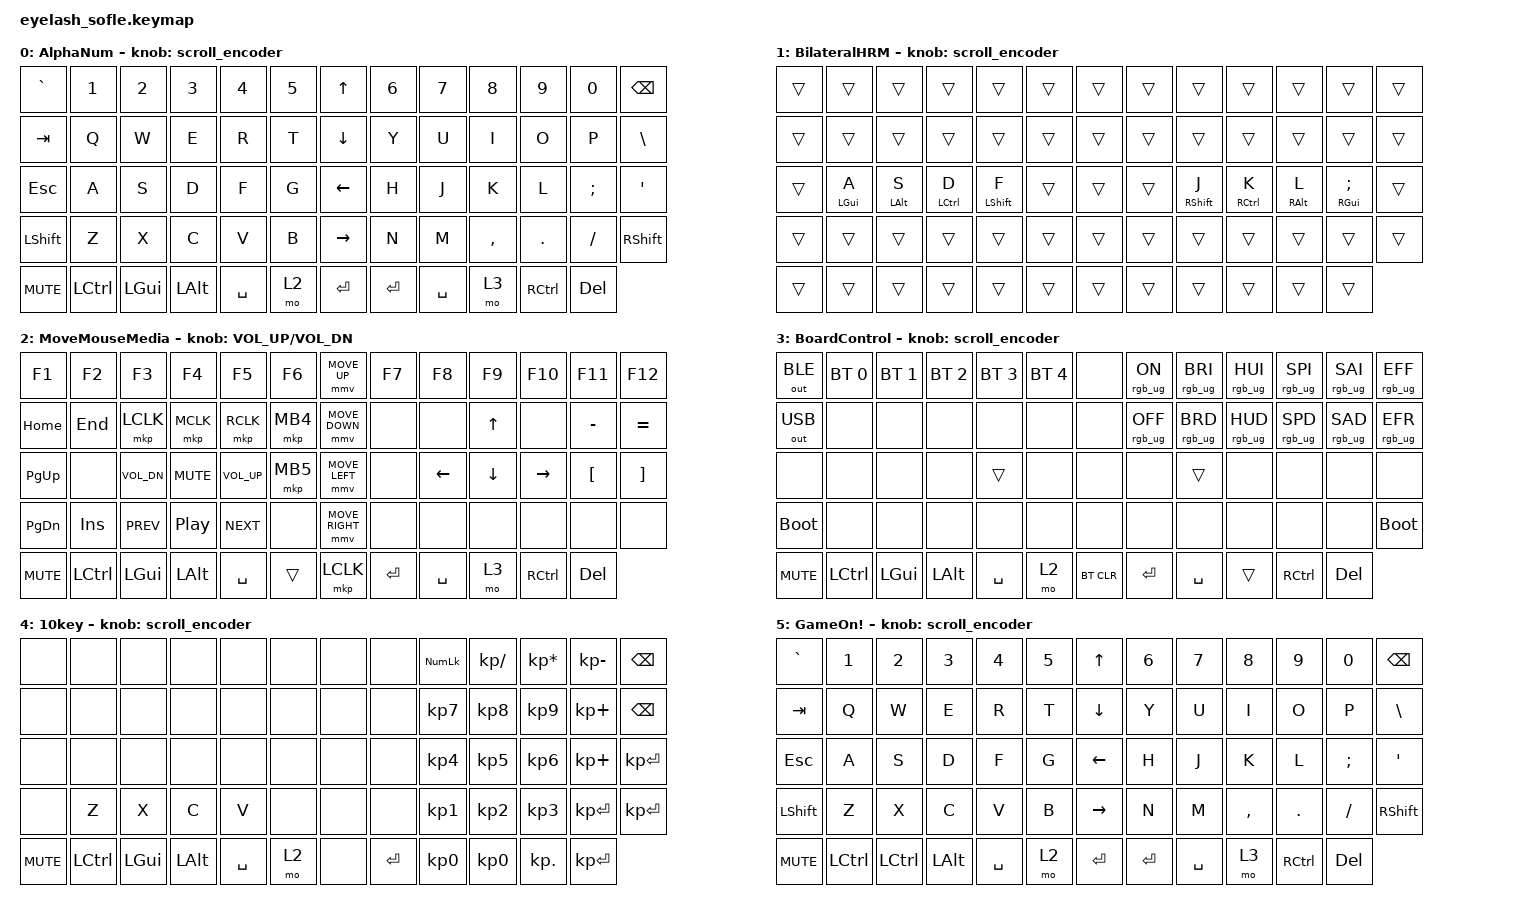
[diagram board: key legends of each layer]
#define ZMK_POINTING_DEFAULT_MOVE_VAL 1200
#define ZMK_POINTING_DEFAULT_SCRL_VAL 35

#include <input/processors.dtsi>
#include <zephyr/dt-bindings/input/input-event-codes.h>
#include <behaviors.dtsi>
#include <dt-bindings/zmk/bt.h>
#include <dt-bindings/zmk/keys.h>
#include <dt-bindings/zmk/outputs.h>
#include <dt-bindings/zmk/pointing.h>
#include <dt-bindings/zmk/rgb.h>

/ {
    zip_scroll_scaler: zip_scroll_scaler {
        compatible = "zmk,input-processor-scaler";
        #input-processor-cells = <2>;
        type = <INPUT_EV_REL>;
        codes = <INPUT_REL_WHEEL INPUT_REL_HWHEEL>;
        track-remainders;
    };
}; /* Fixed: Added missing closing brace for first root block */

&mmv_input_listener { input-processors = <&zip_xy_scaler 2 1>; };
&msc_input_listener { input-processors = <&zip_scroll_scaler 2 1>; };

&msc {
    acceleration-exponent = <0>;
    time-to-max-speed-ms = <0>;
    delay-ms = <0>;
};

&mmv {
    time-to-max-speed-ms = <400>;
    acceleration-exponent = <1>;
};

/ {
    combos {
        compatible = "zmk,combos";
        
        combo_toggle_hrm {
            timeout-ms = <50>;
            key-positions = <30 34 61>; 
            bindings = <&tog 1>;
        };

                combo_toggle_10k {
            timeout-ms = <50>;
            key-positions = <27 37 61>; 
            bindings = <&tog 4>;
        };

                combo_toggle_gon {
            timeout-ms = <50>;
            key-positions = <28 36 61>; 
            bindings = <&tog 5>;
        };
    };

    behaviors {
        /* Left Hand Home Row Mods */
        hm_left: home_row_mod_left {
            compatible = "zmk,behavior-hold-tap";
            #binding-cells = <2>;
            tapping-term-ms = <200>;
            quick-tap-ms = <150>;
            flavor = "balanced";
            hold-trigger-key-positions = <
                7  8  9 10 11 12
                20 21 22 23 24 25
                33 34 35 36 37 38
                46 47 48 49 50 51
                59 60 61 62 63
            >;
            bindings = <&kp>, <&kp>;
        };

        /* Right Hand Home Row Mods */
        hm_right: home_row_mod_right {
            compatible = "zmk,behavior-hold-tap";
            #binding-cells = <2>;
            tapping-term-ms = <200>;
            quick-tap-ms = <150>;
            flavor = "balanced";
            hold-trigger-key-positions = <
                0  1  2  3  4  5
                13 14 15 16 17 18
                26 27 28 29 30 31
                39 40 41 42 43 44
                53 54 55 56 57
            >;
            bindings = <&kp>, <&kp>;
        };
    };

    scroll_encoder: scroll_encoder {
        compatible = "zmk,behavior-sensor-rotate";
        #sensor-binding-cells = <0>;
        bindings = <&msc SCRL_DOWN>, <&msc SCRL_UP>;
        tap-ms = <100>;
    };

    macros {
        shift_MB3: shift_MB3 {
            compatible = "zmk,behavior-macro";
            #binding-cells = <0>;
            bindings =
                <&macro_press>,
                <&kp LEFT_SHIFT>,
                <&macro_press>,
                <&mkp MB3>,
                <&macro_pause_for_release>,
                <&macro_release>,
                <&mkp MB3 &kp LEFT_SHIFT>;

            label = "SHIFT_MB3";
        };
    };

    keymap {
        compatible = "zmk,keymap";

        /* Layer 0: Base Layer */
        layer0 {
            bindings = <
&kp GRAVE   &kp N1     &kp N2        &kp N3        &kp N4    &kp N5       &kp UP_ARROW     &kp N6     &kp N7     &kp N8     &kp N9           &kp N0      &kp BACKSPACE
&kp TAB     &kp Q      &kp W         &kp E         &kp R     &kp T        &kp DOWN_ARROW   &kp Y      &kp U      &kp I      &kp O            &kp P       &kp BSLH
&kp ESC     &kp A      &kp S         &kp D         &kp F     &kp G        &kp LEFT_ARROW   &kp H      &kp J      &kp K      &kp L            &kp SEMI    &kp APOS
&kp LSHFT   &kp Z      &kp X         &kp C         &kp V     &kp B        &kp RIGHT_ARROW  &kp N      &kp M      &kp COMMA  &kp DOT          &kp FSLH    &kp RSHFT
&kp C_MUTE  &kp LCTRL  &kp LEFT_GUI  &kp LEFT_ALT  &kp SPACE &mo 2        &kp ENTER        &kp ENTER  &kp SPACE  &mo 3      &kp RCTRL        &kp DELETE
            >;
            sensor-bindings = <&scroll_encoder>;
            display-name = "AlphaNum";
        };

        /* Layer 1: Bilateral Home Row Mods Overlay */
        layer_1 {
            bindings = <
&trans  &trans                &trans                &trans                &trans                &trans  &trans  &trans  &trans                &trans                &trans               &trans                 &trans
&trans  &trans                &trans                &trans                &trans                &trans  &trans  &trans  &trans                &trans                &trans               &trans                 &trans
&trans  &hm_left LGUI A       &hm_left LALT S       &hm_left LCTRL D      &hm_left LSHFT F      &trans  &trans  &trans  &hm_right RSHFT J     &hm_right RCTRL K     &hm_right RALT L     &hm_right RGUI SEMI    &trans
&trans  &trans                &trans                &trans                &trans                &trans  &trans  &trans  &trans                &trans                &trans               &trans                 &trans
&trans  &trans                &trans                &trans                &trans                &trans  &trans  &trans  &trans                &trans                &trans               &trans
            >;
            display-name = "BilateralHRM";
            sensor-bindings = <&scroll_encoder>;
        };

        /* Layer 2: MoveMouseMedia */
        layer_2 {
            bindings = <
&kp F1     &kp F2     &kp F3         &kp F4          &kp F5      &kp F6     &mmv MOVE_UP     &kp F7     &kp F8     &kp F9     &kp F10    &kp F11           &kp F12
&kp HOME   &kp END    &mkp LCLK      &mkp MCLK       &mkp RCLK   &mkp MB4   &mmv MOVE_DOWN   &none      &none      &kp UP     &none      &kp MINUS         &kp EQUAL
&kp PG_UP  &none      &kp C_VOL_DN   &kp C_MUTE      &kp C_VOL_UP &mkp MB5  &mmv MOVE_LEFT   &none      &kp LEFT   &kp DOWN   &kp RIGHT  &kp LEFT_BRACKET  &kp RIGHT_BRACKET
&kp PG_DN  &kp INSERT &kp C_PREV     &kp C_PLAY_PAUSE &kp C_NEXT  &none      &mmv MOVE_RIGHT  &none      &none      &none      &none      &none             &none
&kp C_MUTE &kp LCTRL  &kp LEFT_GUI   &kp LEFT_ALT    &kp SPACE   &trans     &mkp LCLK        &kp ENTER  &kp SPACE  &mo 3      &kp RCTRL  &kp DELETE
            >;
            display-name = "MoveMouseMedia";
            sensor-bindings = <&inc_dec_kp C_VOLUME_UP C_VOL_DN>;
        };

        /* Layer 3: BoardControl */
        layer_3 {
            bindings = <
&out OUT_BLE &bt BT_SEL 0 &bt BT_SEL 1 &bt BT_SEL 2 &bt BT_SEL 3 &bt BT_SEL 4 &none      &rgb_ug RGB_ON  &rgb_ug RGB_BRI &rgb_ug RGB_HUI &rgb_ug RGB_SPI &rgb_ug RGB_SAI &rgb_ug RGB_EFF
&out OUT_USB &none        &none        &none        &none        &none        &none      &rgb_ug RGB_OFF &rgb_ug RGB_BRD &rgb_ug RGB_HUD &rgb_ug RGB_SPD &rgb_ug RGB_SAD &rgb_ug RGB_EFR
&none        &none        &none        &none        &trans       &none        &none      &none           &trans          &none           &none           &none           &none
&bootloader  &none        &none        &none        &none        &none        &none      &none           &none           &none           &none           &none           &bootloader
&kp C_MUTE   &kp LCTRL    &kp LEFT_GUI &kp LEFT_ALT &kp SPACE    &mo 2        &bt BT_CLR &kp ENTER   &kp SPACE       &trans          &kp RCTRL       &kp DELETE
            >;
            display-name = "BoardControl";
            sensor-bindings = <&scroll_encoder>;
        };

        /* Layer 4: 10key */
        layer_4 {
            bindings = <
&none      &none     &none        &none        &none     &none &none &none       &kp KP_NUM    &kp KP_SLASH  &kp KP_ASTERISK  &kp KP_MINUS  &kp BACKSPACE
&none      &none     &none        &none        &none     &none &none &none       &kp KP_N7     &kp KP_N8     &kp KP_N9        &kp KP_PLUS   &kp BACKSPACE
&none      &none     &none        &none        &none     &none &none &none       &kp KP_N4     &kp KP_N5     &kp KP_N6        &kp KP_PLUS   &kp KP_ENTER
&none      &kp Z     &kp X        &kp C        &kp V     &none &none &none       &kp KP_N1     &kp KP_N2     &kp KP_N3        &kp KP_ENTER  &kp KP_ENTER 
&kp C_MUTE &kp LCTRL &kp LEFT_GUI &kp LEFT_ALT &kp SPACE &mo 2 &none &kp ENTER   &kp KP_N0     &kp KP_N0     &kp KP_DOT       &kp KP_ENTER         
            >;
            display-name = "10key";
            sensor-bindings = <&scroll_encoder>;
        };

        /* Layer 5: Game Layer */
        layer_5 {
            bindings = <
&kp GRAVE   &kp N1     &kp N2        &kp N3        &kp N4    &kp N5       &kp UP_ARROW     &kp N6     &kp N7     &kp N8     &kp N9           &kp N0      &kp BACKSPACE
&kp TAB     &kp Q      &kp W         &kp E         &kp R     &kp T        &kp DOWN_ARROW   &kp Y      &kp U      &kp I      &kp O            &kp P       &kp BSLH
&kp ESC     &kp A      &kp S         &kp D         &kp F     &kp G        &kp LEFT_ARROW   &kp H      &kp J      &kp K      &kp L            &kp SEMI    &kp APOS
&kp LSHFT   &kp Z      &kp X         &kp C         &kp V     &kp B        &kp RIGHT_ARROW  &kp N      &kp M      &kp COMMA  &kp DOT          &kp FSLH    &kp RSHFT
&kp C_MUTE  &kp LCTRL  &kp LCTRL     &kp LEFT_ALT  &kp SPACE &mo 2        &kp ENTER        &kp ENTER  &kp SPACE  &mo 3      &kp RCTRL        &kp DELETE
            >;
            sensor-bindings = <&scroll_encoder>;
            display-name = "GameOn!";
        };
    };
}; /* Closing main root node */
